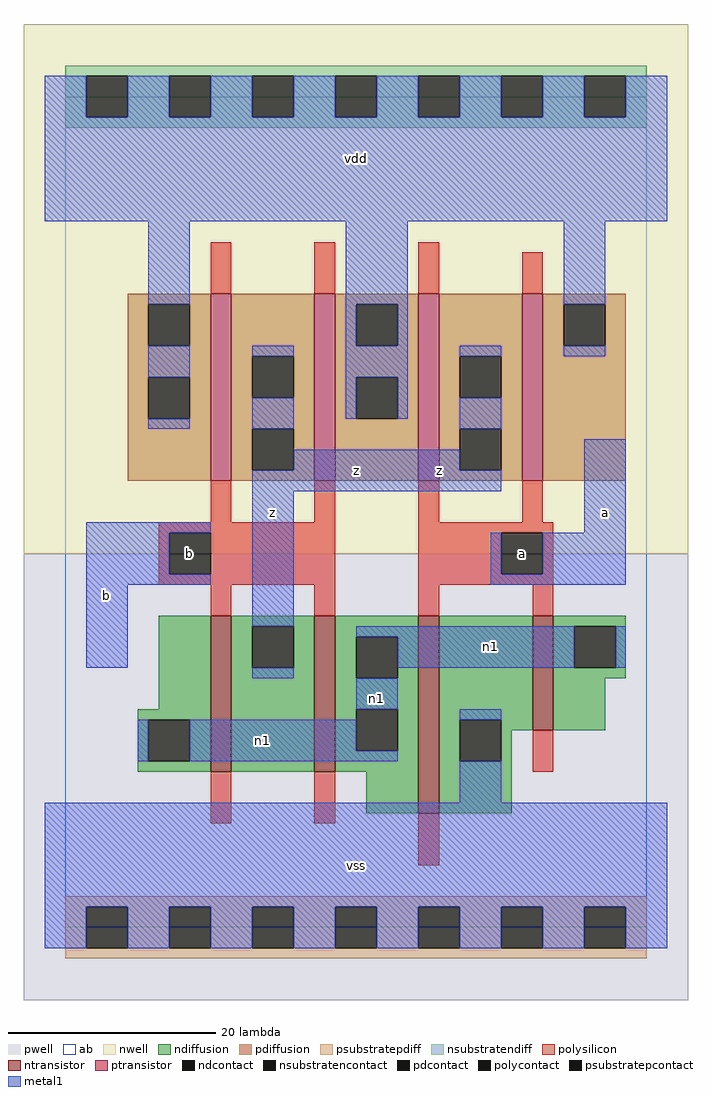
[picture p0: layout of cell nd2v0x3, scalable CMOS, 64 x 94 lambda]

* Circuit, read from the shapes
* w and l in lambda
.subckt nd2v0x3 a b n1 vdd vss z
M1 z b n1 vss nfet w=15 l=2 m=2
M2 vss a n1 vss nfet w=19 l=2
M3 n1 a vss vss nfet w=11 l=2
M4 z b vdd vdd pfet w=18 l=2 m=2
M5 z a vdd vdd pfet w=18 l=2 m=2
.ends

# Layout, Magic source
magic
tech scmos
<< ab >>
rect 0 0 56 80
<< pwell >>
rect -4 -7 60 36
<< nwell >>
rect -4 36 60 87
<< polysilicon >>
rect 14 61 16 66
rect 24 61 26 66
rect 34 61 36 66
rect 44 61 46 65
rect 14 39 16 43
rect 24 39 26 43
rect 9 38 26 39
rect 9 34 10 38
rect 14 34 26 38
rect 9 33 26 34
rect 14 30 16 33
rect 24 30 26 33
rect 34 39 36 43
rect 44 39 46 43
rect 34 38 47 39
rect 34 34 42 38
rect 46 34 47 38
rect 34 33 47 34
rect 34 30 36 33
rect 45 30 47 33
rect 14 10 16 15
rect 24 10 26 15
rect 45 15 47 19
rect 34 6 36 11
<< ndiffusion >>
rect 9 21 14 30
rect 7 20 14 21
rect 7 16 8 20
rect 12 16 14 20
rect 7 15 14 16
rect 16 29 24 30
rect 16 25 18 29
rect 22 25 24 29
rect 16 15 24 25
rect 26 28 34 30
rect 26 24 28 28
rect 32 24 34 28
rect 26 21 34 24
rect 26 17 28 21
rect 32 17 34 21
rect 26 15 34 17
rect 29 11 34 15
rect 36 20 45 30
rect 36 16 38 20
rect 42 19 45 20
rect 47 29 54 30
rect 47 25 49 29
rect 53 25 54 29
rect 47 24 54 25
rect 47 19 52 24
rect 42 16 43 19
rect 36 11 43 16
<< pdiffusion >>
rect 6 60 14 61
rect 6 56 8 60
rect 12 56 14 60
rect 6 53 14 56
rect 6 49 8 53
rect 12 49 14 53
rect 6 43 14 49
rect 16 55 24 61
rect 16 51 18 55
rect 22 51 24 55
rect 16 48 24 51
rect 16 44 18 48
rect 22 44 24 48
rect 16 43 24 44
rect 26 60 34 61
rect 26 56 28 60
rect 32 56 34 60
rect 26 53 34 56
rect 26 49 28 53
rect 32 49 34 53
rect 26 43 34 49
rect 36 55 44 61
rect 36 51 38 55
rect 42 51 44 55
rect 36 48 44 51
rect 36 44 38 48
rect 42 44 44 48
rect 36 43 44 44
rect 46 60 54 61
rect 46 56 48 60
rect 52 56 54 60
rect 46 43 54 56
<< metal1 >>
rect -2 78 2 82
rect 6 78 10 82
rect 14 78 18 82
rect 22 78 26 82
rect 30 78 34 82
rect 38 78 42 82
rect 46 78 50 82
rect 54 78 58 82
rect -2 68 58 78
rect 8 60 12 68
rect 27 60 33 68
rect 27 56 28 60
rect 32 56 33 60
rect 48 60 52 68
rect 8 53 12 56
rect 8 48 12 49
rect 18 55 22 56
rect 18 48 22 51
rect 27 53 33 56
rect 27 49 28 53
rect 32 49 33 53
rect 38 55 42 56
rect 48 55 52 56
rect 38 48 42 51
rect 22 44 38 46
rect 18 42 42 44
rect 2 38 14 39
rect 2 34 10 38
rect 2 33 14 34
rect 2 25 6 33
rect 18 29 22 42
rect 50 38 54 47
rect 41 34 42 38
rect 46 34 54 38
rect 41 33 54 34
rect 18 24 22 25
rect 28 28 49 29
rect 32 25 49 28
rect 53 25 54 29
rect 28 21 32 24
rect 7 16 8 20
rect 12 17 28 20
rect 12 16 32 17
rect 38 20 42 21
rect 38 12 42 16
rect -2 2 58 12
rect -2 -2 2 2
rect 6 -2 10 2
rect 14 -2 18 2
rect 22 -2 26 2
rect 30 -2 34 2
rect 38 -2 42 2
rect 46 -2 50 2
rect 54 -2 58 2
<< ntransistor >>
rect 14 15 16 30
rect 24 15 26 30
rect 34 11 36 30
rect 45 19 47 30
<< ptransistor >>
rect 14 43 16 61
rect 24 43 26 61
rect 34 43 36 61
rect 44 43 46 61
<< polycontact >>
rect 10 34 14 38
rect 42 34 46 38
<< ndcontact >>
rect 8 16 12 20
rect 18 25 22 29
rect 28 24 32 28
rect 28 17 32 21
rect 38 16 42 20
rect 49 25 53 29
<< pdcontact >>
rect 8 56 12 60
rect 8 49 12 53
rect 18 51 22 55
rect 18 44 22 48
rect 28 56 32 60
rect 28 49 32 53
rect 38 51 42 55
rect 38 44 42 48
rect 48 56 52 60
<< psubstratepcontact >>
rect 2 -2 6 2
rect 10 -2 14 2
rect 18 -2 22 2
rect 26 -2 30 2
rect 34 -2 38 2
rect 42 -2 46 2
rect 50 -2 54 2
<< nsubstratencontact >>
rect 2 78 6 82
rect 10 78 14 82
rect 18 78 22 82
rect 26 78 30 82
rect 34 78 38 82
rect 42 78 46 82
rect 50 78 54 82
<< psubstratepdiff >>
rect 0 2 56 3
rect 0 -2 2 2
rect 6 -2 10 2
rect 14 -2 18 2
rect 22 -2 26 2
rect 30 -2 34 2
rect 38 -2 42 2
rect 46 -2 50 2
rect 54 -2 56 2
rect 0 -3 56 -2
<< nsubstratendiff >>
rect 0 82 56 83
rect 0 78 2 82
rect 6 78 10 82
rect 14 78 18 82
rect 22 78 26 82
rect 30 78 34 82
rect 38 78 42 82
rect 46 78 50 82
rect 54 78 56 82
rect 0 77 56 78
<< labels >>
rlabel metal1 4 32 4 32 6 b
rlabel polycontact 12 36 12 36 6 b
rlabel metal1 20 40 20 40 6 z
rlabel metal1 28 6 28 6 6 vss
rlabel metal1 30 22 30 22 6 n1
rlabel metal1 19 18 19 18 6 n1
rlabel metal1 36 44 36 44 6 z
rlabel metal1 28 44 28 44 6 z
rlabel metal1 28 74 28 74 6 vdd
rlabel polycontact 44 36 44 36 6 a
rlabel metal1 41 27 41 27 6 n1
rlabel metal1 52 40 52 40 6 a
<< end >>
